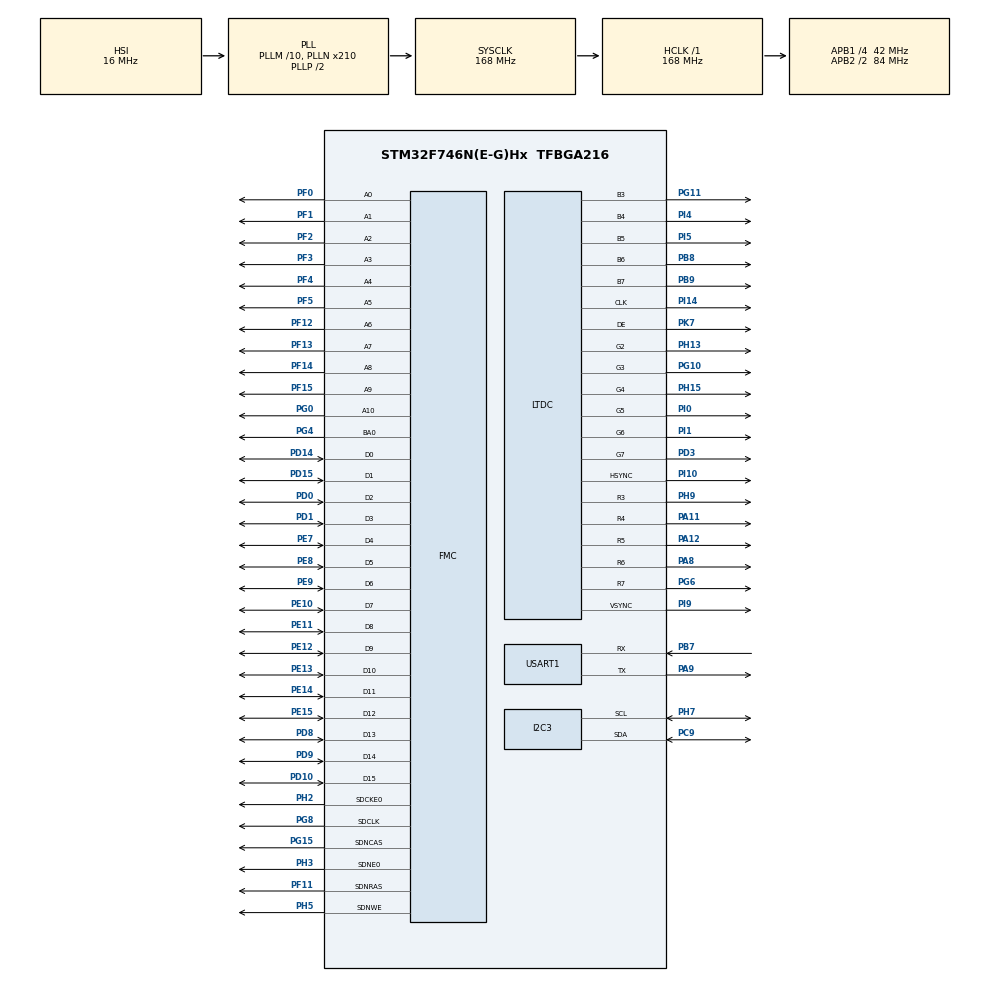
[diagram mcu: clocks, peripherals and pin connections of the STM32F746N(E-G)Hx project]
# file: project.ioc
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DMA2D.ColorMode=DMA2D_OUTPUT_RGB565
I2C3.OwnAddress=112
I2C3.Timing=0x00A0A3F7
Mcu.Family=STM32F7
Mcu.Name=STM32F746N(E-G)Hx
Mcu.Package=TFBGA216
NVIC.PriorityGroup=NVIC_PRIORITYGROUP_4
PA11.Mode=RGB565
PA11.Signal=LTDC_R4
PA12.Mode=RGB565
PA12.Signal=LTDC_R5
PA8.Mode=RGB565
PA8.Signal=LTDC_R6
PA9.Mode=Asynchronous
PA9.Signal=USART1_TX
PB7.Mode=Asynchronous
PB7.Signal=USART1_RX
PB8.Mode=RGB565
PB8.Signal=LTDC_B6
PB9.Mode=RGB565
PB9.Signal=LTDC_B7
PC9.Mode=I2C
PC9.Signal=I2C3_SDA
PD0.Signal=FMC_D2_DA2
PD1.Signal=FMC_D3_DA3
PD10.Signal=FMC_D15_DA15
PD14.Signal=FMC_D0_DA0
PD15.Signal=FMC_D1_DA1
PD3.Mode=RGB565
PD3.Signal=LTDC_G7
PD8.Signal=FMC_D13_DA13
PD9.Signal=FMC_D14_DA14
PE10.Signal=FMC_D7_DA7
PE11.Signal=FMC_D8_DA8
PE12.Signal=FMC_D9_DA9
PE13.Signal=FMC_D10_DA10
PE14.Signal=FMC_D11_DA11
PE15.Signal=FMC_D12_DA12
PE7.Signal=FMC_D4_DA4
PE8.Signal=FMC_D5_DA5
PE9.Signal=FMC_D6_DA6
PF0.Signal=FMC_A0
PF1.Signal=FMC_A1
PF11.Signal=FMC_SDNRAS
PF12.Signal=FMC_A6
PF13.Signal=FMC_A7
PF14.Signal=FMC_A8
PF15.Signal=FMC_A9
PF2.Signal=FMC_A2
PF3.Signal=FMC_A3
PF4.Signal=FMC_A4
PF5.Signal=FMC_A5
PG0.Signal=FMC_A10
PG10.Mode=RGB565
PG10.Signal=LTDC_G3
PG11.Mode=RGB565
PG11.Signal=LTDC_B3
PG15.Signal=FMC_SDNCAS
PG4.Signal=FMC_A14_BA0
PG6.Mode=RGB565
PG6.Signal=LTDC_R7
PG8.Signal=FMC_SDCLK
PH13.Mode=RGB565
PH13.Signal=LTDC_G2
PH15.Mode=RGB565
PH15.Signal=LTDC_G4
PH2.Mode=SdramChipSelect1_1
PH2.Signal=FMC_SDCKE0
PH3.Mode=SdramChipSelect1_1
PH3.Signal=FMC_SDNE0
PH5.Signal=FMC_SDNWE
PH7.Mode=I2C
PH7.Signal=I2C3_SCL
PH9.Mode=RGB565
PH9.Signal=LTDC_R3
PI0.Mode=RGB565
PI0.Signal=LTDC_G5
PI1.Mode=RGB565
PI1.Signal=LTDC_G6
PI10.Mode=RGB565
PI10.Signal=LTDC_HSYNC
PI14.Mode=RGB565
PI14.Signal=LTDC_CLK
PI4.Mode=RGB565
PI4.Signal=LTDC_B4
PI5.Mode=RGB565
PI5.Signal=LTDC_B5
PI9.Mode=RGB565
PI9.Signal=LTDC_VSYNC
PK7.Mode=RGB565
PK7.Signal=LTDC_DE
ProjectManager.HeapSize=0x200
ProjectManager.StackSize=0x400
ProjectManager.TargetToolchain=SW4STM32
RCC.AHBFreq_Value=168000000
RCC.APB1CLKDivider=RCC_HCLK_DIV4
RCC.APB1Freq_Value=42000000
RCC.APB1TimFreq_Value=84000000
RCC.APB2CLKDivider=RCC_HCLK_DIV2
RCC.APB2Freq_Value=84000000
RCC.APB2TimFreq_Value=168000000
RCC.CortexFreq_Value=168000000
RCC.HCLKFreq_Value=168000000
RCC.HSE_VALUE=25000000
RCC.HSI_VALUE=16000000
RCC.LSE_VALUE=32768
RCC.PLLM=10
RCC.PLLN=210
RCC.PLLSourceVirtual=RCC_PLLSOURCE_HSI
RCC.SYSCLKFreq_VALUE=168000000
RCC.SYSCLKSource=RCC_SYSCLKSOURCE_PLLCLK
RCC.USBFreq_Value=168000000
RCC.VCOOutputFreq_Value=336000000
SH.FMC_A0.0=FMC_A0,11b-sda1
SH.FMC_A1.0=FMC_A1,11b-sda1
SH.FMC_A10.0=FMC_A10,11b-sda1
SH.FMC_A14_BA0.0=FMC_BA0,TwoSdramBanks1
SH.FMC_A2.0=FMC_A2,11b-sda1
SH.FMC_A3.0=FMC_A3,11b-sda1
SH.FMC_A4.0=FMC_A4,11b-sda1
SH.FMC_A5.0=FMC_A5,11b-sda1
SH.FMC_A6.0=FMC_A6,11b-sda1
SH.FMC_A7.0=FMC_A7,11b-sda1
SH.FMC_A8.0=FMC_A8,11b-sda1
SH.FMC_A9.0=FMC_A9,11b-sda1
SH.FMC_D0_DA0.0=FMC_D0,sd-16b-d1
SH.FMC_D10_DA10.0=FMC_D10,sd-16b-d1
SH.FMC_D11_DA11.0=FMC_D11,sd-16b-d1
SH.FMC_D12_DA12.0=FMC_D12,sd-16b-d1
SH.FMC_D13_DA13.0=FMC_D13,sd-16b-d1
SH.FMC_D14_DA14.0=FMC_D14,sd-16b-d1
SH.FMC_D15_DA15.0=FMC_D15,sd-16b-d1
SH.FMC_D1_DA1.0=FMC_D1,sd-16b-d1
SH.FMC_D2_DA2.0=FMC_D2,sd-16b-d1
SH.FMC_D3_DA3.0=FMC_D3,sd-16b-d1
SH.FMC_D4_DA4.0=FMC_D4,sd-16b-d1
SH.FMC_D5_DA5.0=FMC_D5,sd-16b-d1
SH.FMC_D6_DA6.0=FMC_D6,sd-16b-d1
SH.FMC_D7_DA7.0=FMC_D7,sd-16b-d1
SH.FMC_D8_DA8.0=FMC_D8,sd-16b-d1
SH.FMC_D9_DA9.0=FMC_D9,sd-16b-d1
SH.FMC_SDCLK.0=FMC_SDCLK,11b-sda1
SH.FMC_SDNCAS.0=FMC_SDNCAS,11b-sda1
SH.FMC_SDNRAS.0=FMC_SDNRAS,11b-sda1
SH.FMC_SDNWE.0=FMC_SDNWE,11b-sda1
USART1.WordLength=UART_WORDLENGTH_8B
VP_DMA2D_VS_DMA2D.Mode=DMA2D_Activate
board=STM32F746G-DISCO

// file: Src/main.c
/**
  ******************************************************************************
  * File Name          : main.c
  * Description        : Main program body
  ******************************************************************************
  *
  * COPYRIGHT(c) 2016 STMicroelectronics
  *
  * Redistribution and use in source and binary forms, with or without modification,
  * are permitted provided that the following conditions are met:
  *   1. Redistributions of source code must retain the above copyright notice,
  *      this list of conditions and the following disclaimer.
  *   2. Redistributions in binary form must reproduce the above copyright notice,
  *      this list of conditions and the following disclaimer in the documentation
  *      and/or other materials provided with the distribution.
  *   3. Neither the name of STMicroelectronics nor the names of its contributors
  *      may be used to endorse or promote products derived from this software
  *      without specific prior written permission.
  *
  * THIS SOFTWARE IS PROVIDED BY THE COPYRIGHT HOLDERS AND CONTRIBUTORS "AS IS"
  * AND ANY EXPRESS OR IMPLIED WARRANTIES, INCLUDING, BUT NOT LIMITED TO, THE
  * IMPLIED WARRANTIES OF MERCHANTABILITY AND FITNESS FOR A PARTICULAR PURPOSE ARE
  * DISCLAIMED. IN NO EVENT SHALL THE COPYRIGHT HOLDER OR CONTRIBUTORS BE LIABLE
  * FOR ANY DIRECT, INDIRECT, INCIDENTAL, SPECIAL, EXEMPLARY, OR CONSEQUENTIAL
  * DAMAGES (INCLUDING, BUT NOT LIMITED TO, PROCUREMENT OF SUBSTITUTE GOODS OR
  * SERVICES; LOSS OF USE, DATA, OR PROFITS; OR BUSINESS INTERRUPTION) HOWEVER
  * CAUSED AND ON ANY THEORY OF LIABILITY, WHETHER IN CONTRACT, STRICT LIABILITY,
  * OR TORT (INCLUDING NEGLIGENCE OR OTHERWISE) ARISING IN ANY WAY OUT OF THE USE
  * OF THIS SOFTWARE, EVEN IF ADVISED OF THE POSSIBILITY OF SUCH DAMAGE.
  *
  ******************************************************************************
  */
#include "stm32f7xx_hal.h"

/* USER CODE BEGIN Includes */
#include "stm32746g_discovery.h"
#include "stm32746g_discovery_lcd.h"
#include "stm32746g_discovery_sdram.h"
#include "stm32746g_discovery_ts.h"

#include "defqon_data.h"
#include "QM_data.h"
#include "QM2_data.h"
#include "qlimax_data.h"
/* USER CODE END Includes */

DMA2D_HandleTypeDef hdma2d;

I2C_HandleTypeDef hi2c3;

LTDC_HandleTypeDef hltdc;

UART_HandleTypeDef huart1;

SDRAM_HandleTypeDef hsdram1;

/* USER CODE BEGIN PV */
/* Private variables ---------------------------------------------------------*/

/* USER CODE END PV */

void SystemClock_Config(void);
void Error_Handler(void);
static void MX_GPIO_Init(void);
static void MX_DMA2D_Init(void);
static void MX_FMC_Init(void);
static void MX_I2C3_Init(void);
static void MX_LTDC_Init(void);
static void MX_USART1_UART_Init(void);

/* USER CODE BEGIN PFP */
/* Private function prototypes -----------------------------------------------*/

/* USER CODE END PFP */

int main(void)
{

  /* MCU Configuration----------------------------------------------------------*/

  /* Reset of all peripherals, Initializes the Flash interface and the Systick. */
  HAL_Init();

  /* Configure the system clock */
  SystemClock_Config();

  /* Initialize all configured peripherals */
  MX_GPIO_Init();
  MX_DMA2D_Init();
  MX_FMC_Init();
  MX_I2C3_Init();
  MX_LTDC_Init();
  MX_USART1_UART_Init();

  /* USER CODE BEGIN 2 */
  BSP_LCD_Init();
  BSP_LCD_DisplayOn();
  MX_LTDC_Init();
  LTDC_LayerCfgTypeDef laag0;

  LTDC_LayerCfgTypeDef laag1;

  laag0.WindowX0 = 48;
  laag0.WindowX1 = 432;
  laag0.WindowY0 = 27;
  laag0.WindowY1 = 245;

  laag1.WindowX0 =  laag0.WindowX0;
  laag1.WindowX1 = 	laag0.WindowX1;
  laag1.WindowY0 = 	laag0.WindowY0;
  laag1.WindowY1 =  laag0.WindowY1;

  laag0.PixelFormat = QLIMAX_DATA_FORMAT;
  laag0.FBStartAdress = (uint32_t)&QLIMAX_DATA;
  laag0.ImageWidth = QLIMAX_DATA_X_PIXEL;
  laag0.ImageHeight = QLIMAX_DATA_Y_PIXEL;

  laag1.PixelFormat = QM_DATA_FORMAT;
  laag1.FBStartAdress = (uint32_t)&QM_DATA;
  laag1.ImageWidth = QM_DATA_X_PIXEL;
  laag1.ImageHeight = QM_DATA_Y_PIXEL;

  laag0.Alpha = 255;
  laag0.Alpha0 = 0;
  laag0.Backcolor.Blue = 0;
  laag0.Backcolor.Green = 0;
  laag0.Backcolor.Red = 0;
  laag0.BlendingFactor1 = LTDC_BLENDING_FACTOR1_PAxCA;
  laag0.BlendingFactor2 = LTDC_BLENDING_FACTOR2_PAxCA;

  laag1.Alpha = 0;
  laag1.Alpha0 = 0;
  laag1.Backcolor.Blue = 0;
  laag1.Backcolor.Green = 0;
  laag1.Backcolor.Red = 0;
  laag1.BlendingFactor1 = LTDC_BLENDING_FACTOR1_PAxCA;
  laag1.BlendingFactor2 = LTDC_BLENDING_FACTOR2_PAxCA;

  HAL_LTDC_ConfigLayer(&hltdc, &laag0, 0);
  HAL_LTDC_ConfigLayer(&hltdc, &laag1, 1);

  /* USER CODE END 2 */

  /* Infinite loop */
  while (1)
  {

  /* USER CODE BEGIN 3 */
	  for(int i =0;i<255;i++)
	  {
		  HAL_LTDC_SetAlpha(&hltdc, i,1); //achterste laag(laag 0) gaat weg
		  HAL_Delay(10);
	  }
	  HAL_Delay(4000);

	  laag0.PixelFormat = QM2_DATA_FORMAT;			//achterste laag niet zichtbaar dus updaten
	  laag0.FBStartAdress = (uint32_t)&QM2_DATA;
	  laag0.ImageWidth = QM2_DATA_X_PIXEL;
	  laag0.ImageHeight = QM2_DATA_Y_PIXEL;
	  HAL_LTDC_ConfigLayer(&hltdc, &laag0, 0);

	  for(int i =0;i<255;i++)
	  {
		  HAL_LTDC_SetAlpha(&hltdc, 255-i,1);	//achterste laag wordt zichtbaar
		  HAL_Delay(10);
	  }
	  HAL_Delay(4000);

	  laag1.PixelFormat = QLIMAX_DATA_FORMAT;			//voorste laag niet zichtbaar dus updaten
	  laag1.FBStartAdress = (uint32_t)&QLIMAX_DATA;
	  laag1.ImageWidth = QLIMAX_DATA_X_PIXEL;
	  laag1.ImageHeight = QLIMAX_DATA_Y_PIXEL;
	  HAL_LTDC_ConfigLayer(&hltdc, &laag1, 1);

	  for(int i =0;i<255;i++)
	  {
		  HAL_LTDC_SetAlpha(&hltdc, i,1); //achterste laag(laag 0) gaat weg
		  HAL_Delay(10);
	  }
	  HAL_Delay(4000);

	  laag0.PixelFormat = QM_DATA_FORMAT;			//achterste laag niet zichtbaar dus updaten
	  laag0.FBStartAdress = (uint32_t)&QM_DATA;
	  laag0.ImageWidth = QM_DATA_X_PIXEL;
	  laag0.ImageHeight = QM_DATA_Y_PIXEL;
	  HAL_LTDC_ConfigLayer(&hltdc, &laag0, 0);

	  for(int i =0;i<255;i++)
	  {
		  HAL_LTDC_SetAlpha(&hltdc, 255-i,1);	//achterste laag wordt zichtbaar
		  HAL_Delay(10);
	  }
	  HAL_Delay(4000);

	  laag1.PixelFormat = QM2_DATA_FORMAT;			//voorste laag niet zichtbaar dus updaten
	  laag1.FBStartAdress = (uint32_t)&QM2_DATA;
	  laag1.ImageWidth = QM2_DATA_X_PIXEL;
	  laag1.ImageHeight = QM2_DATA_Y_PIXEL;
	  HAL_LTDC_ConfigLayer(&hltdc, &laag1, 1);

	  for(int i =0;i<255;i++)
	  {
		  HAL_LTDC_SetAlpha(&hltdc, i,1); //achterste laag(laag 0) gaat weg
		  HAL_Delay(10);
	  }
	  HAL_Delay(4000);

	  laag0.PixelFormat = QLIMAX_DATA_FORMAT;			//achterste laag niet zichtbaar dus updaten
	  laag0.FBStartAdress = (uint32_t)&QLIMAX_DATA;
	  laag0.ImageWidth = QLIMAX_DATA_X_PIXEL;
	  laag0.ImageHeight = QLIMAX_DATA_Y_PIXEL;
	  HAL_LTDC_ConfigLayer(&hltdc, &laag0, 0);

	  for(int i =0;i<255;i++)
	  {
		  HAL_LTDC_SetAlpha(&hltdc, 255-i,1);	//achterste laag wordt zichtbaar
		  HAL_Delay(10);
	  }
	  HAL_Delay(4000);

	  laag1.PixelFormat = QM_DATA_FORMAT;			//voorste laag niet zichtbaar dus updaten
	  laag1.FBStartAdress = (uint32_t)&QM_DATA;
	  laag1.ImageWidth = QM_DATA_X_PIXEL;
	  laag1.ImageHeight = QM_DATA_Y_PIXEL;
	  HAL_LTDC_ConfigLayer(&hltdc, &laag1, 1);

  }
  /* USER CODE END 3 */

}

/** System Clock Configuration
*/
void SystemClock_Config(void)
{

  RCC_OscInitTypeDef RCC_OscInitStruct;
  RCC_ClkInitTypeDef RCC_ClkInitStruct;
  RCC_PeriphCLKInitTypeDef PeriphClkInitStruct;

  __HAL_RCC_PWR_CLK_ENABLE();

  __HAL_PWR_VOLTAGESCALING_CONFIG(PWR_REGULATOR_VOLTAGE_SCALE2);

  RCC_OscInitStruct.OscillatorType = RCC_OSCILLATORTYPE_HSI;
  RCC_OscInitStruct.HSIState = RCC_HSI_ON;
  RCC_OscInitStruct.HSICalibrationValue = 16;
  RCC_OscInitStruct.PLL.PLLState = RCC_PLL_ON;
  RCC_OscInitStruct.PLL.PLLSource = RCC_PLLSOURCE_HSI;
  RCC_OscInitStruct.PLL.PLLM = 10;
  RCC_OscInitStruct.PLL.PLLN = 210;
  RCC_OscInitStruct.PLL.PLLP = RCC_PLLP_DIV2;
  RCC_OscInitStruct.PLL.PLLQ = 2;
  if (HAL_RCC_OscConfig(&RCC_OscInitStruct) != HAL_OK)
  {
    Error_Handler();
  }

  RCC_ClkInitStruct.ClockType = RCC_CLOCKTYPE_HCLK|RCC_CLOCKTYPE_SYSCLK
                              |RCC_CLOCKTYPE_PCLK1|RCC_CLOCKTYPE_PCLK2;
  RCC_ClkInitStruct.SYSCLKSource = RCC_SYSCLKSOURCE_PLLCLK;
  RCC_ClkInitStruct.AHBCLKDivider = RCC_SYSCLK_DIV1;
  RCC_ClkInitStruct.APB1CLKDivider = RCC_HCLK_DIV4;
  RCC_ClkInitStruct.APB2CLKDivider = RCC_HCLK_DIV2;
  if (HAL_RCC_ClockConfig(&RCC_ClkInitStruct, FLASH_LATENCY_5) != HAL_OK)
  {
    Error_Handler();
  }

  PeriphClkInitStruct.PeriphClockSelection = RCC_PERIPHCLK_LTDC|RCC_PERIPHCLK_USART1
                              |RCC_PERIPHCLK_I2C3;
  PeriphClkInitStruct.PLLSAI.PLLSAIN = 192;
  PeriphClkInitStruct.PLLSAI.PLLSAIR = 2;
  PeriphClkInitStruct.PLLSAI.PLLSAIQ = 2;
  PeriphClkInitStruct.PLLSAI.PLLSAIP = RCC_PLLSAIP_DIV2;
  PeriphClkInitStruct.PLLSAIDivQ = 1;
  PeriphClkInitStruct.PLLSAIDivR = RCC_PLLSAIDIVR_2;
  PeriphClkInitStruct.Usart1ClockSelection = RCC_USART1CLKSOURCE_PCLK2;
  PeriphClkInitStruct.I2c3ClockSelection = RCC_I2C3CLKSOURCE_PCLK1;
  if (HAL_RCCEx_PeriphCLKConfig(&PeriphClkInitStruct) != HAL_OK)
  {
    Error_Handler();
  }

  HAL_SYSTICK_Config(HAL_RCC_GetHCLKFreq()/1000);

  HAL_SYSTICK_CLKSourceConfig(SYSTICK_CLKSOURCE_HCLK);

  /* SysTick_IRQn interrupt configuration */
  HAL_NVIC_SetPriority(SysTick_IRQn, 0, 0);
}

/* DMA2D init function */
static void MX_DMA2D_Init(void)
{

  hdma2d.Instance = DMA2D;
  hdma2d.Init.Mode = DMA2D_M2M;
  hdma2d.Init.ColorMode = DMA2D_OUTPUT_RGB565;
  hdma2d.Init.OutputOffset = 0;
  hdma2d.LayerCfg[1].InputOffset = 0;
  hdma2d.LayerCfg[1].InputColorMode = DMA2D_INPUT_RGB565;
  hdma2d.LayerCfg[1].AlphaMode = DMA2D_NO_MODIF_ALPHA;
  hdma2d.LayerCfg[1].InputAlpha = 0;
  if (HAL_DMA2D_Init(&hdma2d) != HAL_OK)
  {
    Error_Handler();
  }

  if (HAL_DMA2D_ConfigLayer(&hdma2d, 1) != HAL_OK)
  {
    Error_Handler();
  }

}

/* I2C3 init function */
static void MX_I2C3_Init(void)
{

  hi2c3.Instance = I2C3;
  hi2c3.Init.Timing = 0x00A0A3F7;
  hi2c3.Init.OwnAddress1 = 224;
  hi2c3.Init.AddressingMode = I2C_ADDRESSINGMODE_7BIT;
  hi2c3.Init.DualAddressMode = I2C_DUALADDRESS_DISABLE;
  hi2c3.Init.OwnAddress2 = 0;
  hi2c3.Init.OwnAddress2Masks = I2C_OA2_NOMASK;
  hi2c3.Init.GeneralCallMode = I2C_GENERALCALL_DISABLE;
  hi2c3.Init.NoStretchMode = I2C_NOSTRETCH_DISABLE;
  if (HAL_I2C_Init(&hi2c3) != HAL_OK)
  {
    Error_Handler();
  }

    /**Configure Analogue filter
    */
  if (HAL_I2CEx_ConfigAnalogFilter(&hi2c3, I2C_ANALOGFILTER_ENABLE) != HAL_OK)
  {
    Error_Handler();
  }

}

/* LTDC init function */
static void MX_LTDC_Init(void)
{

  LTDC_LayerCfgTypeDef pLayerCfg;
  LTDC_LayerCfgTypeDef pLayerCfg1;

  hltdc.Instance = LTDC;
  hltdc.Init.HSPolarity = LTDC_HSPOLARITY_AL;
  hltdc.Init.VSPolarity = LTDC_VSPOLARITY_AL;
  hltdc.Init.DEPolarity = LTDC_DEPOLARITY_AL;
  hltdc.Init.PCPolarity = LTDC_PCPOLARITY_IPC;
  hltdc.Init.HorizontalSync = 7;
  hltdc.Init.VerticalSync = 3;
  hltdc.Init.AccumulatedHBP = 14;
  hltdc.Init.AccumulatedVBP = 5;
  hltdc.Init.AccumulatedActiveW = 654;
  hltdc.Init.AccumulatedActiveH = 485;
  hltdc.Init.TotalWidth = 660;
  hltdc.Init.TotalHeigh = 487;
  hltdc.Init.Backcolor.Blue = 0;
  hltdc.Init.Backcolor.Green = 0;
  hltdc.Init.Backcolor.Red = 0;
  if (HAL_LTDC_Init(&hltdc) != HAL_OK)
  {
    Error_Handler();
  }

  pLayerCfg.WindowX0 = 0;
  pLayerCfg.WindowX1 = 0;
  pLayerCfg.WindowY0 = 0;
  pLayerCfg.WindowY1 = 0;
  pLayerCfg.PixelFormat = LTDC_PIXEL_FORMAT_RGB565;
  pLayerCfg.Alpha = 0;
  pLayerCfg.Alpha0 = 0;
  pLayerCfg.BlendingFactor1 = LTDC_BLENDING_FACTOR1_CA;
  pLayerCfg.BlendingFactor2 = LTDC_BLENDING_FACTOR2_CA;
  pLayerCfg.FBStartAdress = 0;
  pLayerCfg.ImageWidth = 0;
  pLayerCfg.ImageHeight = 0;
  pLayerCfg.Backcolor.Blue = 0;
  pLayerCfg.Backcolor.Green = 0;
  pLayerCfg.Backcolor.Red = 0;
  if (HAL_LTDC_ConfigLayer(&hltdc, &pLayerCfg, 0) != HAL_OK)
  {
    Error_Handler();
  }

  pLayerCfg1.WindowX0 = 0;
  pLayerCfg1.WindowX1 = 0;
  pLayerCfg1.WindowY0 = 0;
  pLayerCfg1.WindowY1 = 0;
  pLayerCfg1.PixelFormat = LTDC_PIXEL_FORMAT_RGB565;
  pLayerCfg1.Alpha = 0;
  pLayerCfg1.Alpha0 = 0;
  pLayerCfg1.BlendingFactor1 = LTDC_BLENDING_FACTOR1_CA;
  pLayerCfg1.BlendingFactor2 = LTDC_BLENDING_FACTOR2_CA;
  pLayerCfg1.FBStartAdress = 0;
  pLayerCfg1.ImageWidth = 0;
  pLayerCfg1.ImageHeight = 0;
  pLayerCfg1.Backcolor.Blue = 0;
  pLayerCfg1.Backcolor.Green = 0;
  pLayerCfg1.Backcolor.Red = 0;
  if (HAL_LTDC_ConfigLayer(&hltdc, &pLayerCfg1, 1) != HAL_OK)
  {
    Error_Handler();
  }

}

/* USART1 init function */
static void MX_USART1_UART_Init(void)
{

  huart1.Instance = USART1;
  huart1.Init.BaudRate = 115200;
  huart1.Init.WordLength = UART_WORDLENGTH_8B;
  huart1.Init.StopBits = UART_STOPBITS_1;
  huart1.Init.Parity = UART_PARITY_NONE;
  huart1.Init.Mode = UART_MODE_TX_RX;
  huart1.Init.HwFlowCtl = UART_HWCONTROL_NONE;
  huart1.Init.OverSampling = UART_OVERSAMPLING_16;
  huart1.Init.OneBitSampling = UART_ONE_BIT_SAMPLE_DISABLE;
  huart1.AdvancedInit.AdvFeatureInit = UART_ADVFEATURE_NO_INIT;
  if (HAL_UART_Init(&huart1) != HAL_OK)
  {
    Error_Handler();
  }

}
/* FMC initialization function */
static void MX_FMC_Init(void)
{
  FMC_SDRAM_TimingTypeDef SdramTiming;

  /** Perform the SDRAM1 memory initialization sequence
  */
  hsdram1.Instance = FMC_SDRAM_DEVICE;
  /* hsdram1.Init */
  hsdram1.Init.SDBank = FMC_SDRAM_BANK1;
  hsdram1.Init.ColumnBitsNumber = FMC_SDRAM_COLUMN_BITS_NUM_8;
  hsdram1.Init.RowBitsNumber = FMC_SDRAM_ROW_BITS_NUM_11;
  hsdram1.Init.MemoryDataWidth = FMC_SDRAM_MEM_BUS_WIDTH_16;
  hsdram1.Init.InternalBankNumber = FMC_SDRAM_INTERN_BANKS_NUM_2;
  hsdram1.Init.CASLatency = FMC_SDRAM_CAS_LATENCY_1;
  hsdram1.Init.WriteProtection = FMC_SDRAM_WRITE_PROTECTION_DISABLE;
  hsdram1.Init.SDClockPeriod = FMC_SDRAM_CLOCK_DISABLE;
  hsdram1.Init.ReadBurst = FMC_SDRAM_RBURST_DISABLE;
  hsdram1.Init.ReadPipeDelay = FMC_SDRAM_RPIPE_DELAY_0;
  /* SdramTiming */
  SdramTiming.LoadToActiveDelay = 16;
  SdramTiming.ExitSelfRefreshDelay = 16;
  SdramTiming.SelfRefreshTime = 16;
  SdramTiming.RowCycleDelay = 16;
  SdramTiming.WriteRecoveryTime = 16;
  SdramTiming.RPDelay = 16;
  SdramTiming.RCDDelay = 16;

  if (HAL_SDRAM_Init(&hsdram1, &SdramTiming) != HAL_OK)
  {
    Error_Handler();
  }

}

/** Pinout Configuration
*/
static void MX_GPIO_Init(void)
{

  /* GPIO Ports Clock Enable */
  __HAL_RCC_GPIOB_CLK_ENABLE();
  __HAL_RCC_GPIOG_CLK_ENABLE();
  __HAL_RCC_GPIOD_CLK_ENABLE();
  __HAL_RCC_GPIOA_CLK_ENABLE();
  __HAL_RCC_GPIOI_CLK_ENABLE();
  __HAL_RCC_GPIOK_CLK_ENABLE();
  __HAL_RCC_GPIOF_CLK_ENABLE();
  __HAL_RCC_GPIOH_CLK_ENABLE();
  __HAL_RCC_GPIOC_CLK_ENABLE();
  __HAL_RCC_GPIOE_CLK_ENABLE();

}

void Error_Handler(void)
{
  while(1)
  {
  }
}

/************************ (C) COPYRIGHT STMicroelectronics *****END OF FILE****/
